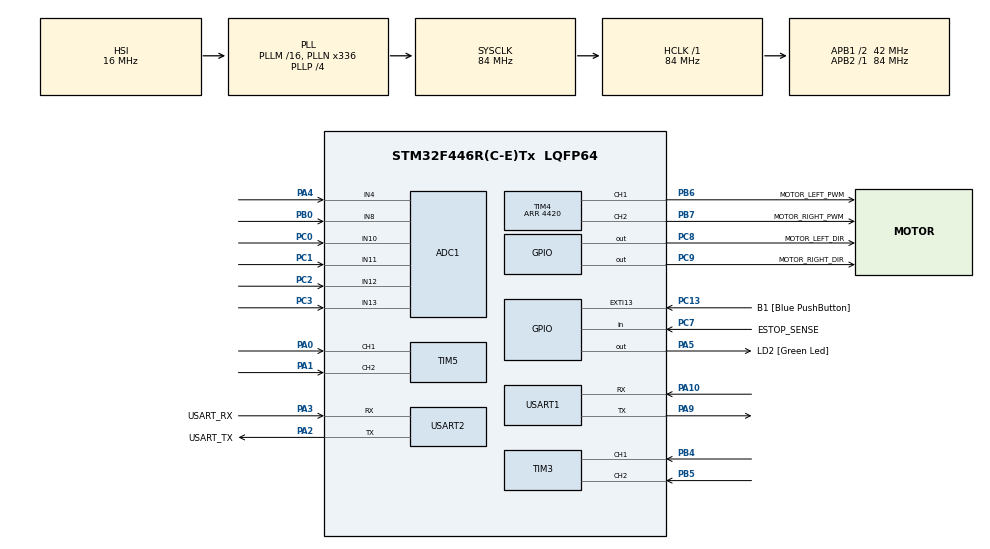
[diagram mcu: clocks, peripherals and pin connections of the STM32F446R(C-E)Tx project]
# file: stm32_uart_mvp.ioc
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ADC1.Channel-0\#ChannelRegularConversion=ADC_CHANNEL_4
ADC1.Channel-1\#ChannelRegularConversion=ADC_CHANNEL_VREFINT
ADC1.Channel-2\#ChannelRegularConversion=ADC_CHANNEL_8
ADC1.Channel-3\#ChannelRegularConversion=ADC_CHANNEL_10
ADC1.Channel-4\#ChannelRegularConversion=ADC_CHANNEL_11
ADC1.Channel-5\#ChannelRegularConversion=ADC_CHANNEL_12
ADC1.Channel-6\#ChannelRegularConversion=ADC_CHANNEL_13
ADC1.ClockPrescaler=ADC_CLOCK_SYNC_PCLK_DIV6
ADC1.DMAContinuousRequests=ENABLE
ADC1.ExternalTrigConv=ADC_EXTERNALTRIGCONV_T2_TRGO
ADC1.NbrOfConversion=7
ADC1.NbrOfConversionFlag=1
ADC1.Rank-0\#ChannelRegularConversion=1
ADC1.Rank-1\#ChannelRegularConversion=2
ADC1.Rank-2\#ChannelRegularConversion=3
ADC1.Rank-3\#ChannelRegularConversion=4
ADC1.Rank-4\#ChannelRegularConversion=5
ADC1.Rank-5\#ChannelRegularConversion=6
ADC1.Rank-6\#ChannelRegularConversion=7
ADC1.SamplingTime-0\#ChannelRegularConversion=ADC_SAMPLETIME_480CYCLES
ADC1.SamplingTime-1\#ChannelRegularConversion=ADC_SAMPLETIME_480CYCLES
ADC1.SamplingTime-2\#ChannelRegularConversion=ADC_SAMPLETIME_480CYCLES
ADC1.SamplingTime-3\#ChannelRegularConversion=ADC_SAMPLETIME_480CYCLES
ADC1.SamplingTime-4\#ChannelRegularConversion=ADC_SAMPLETIME_480CYCLES
ADC1.SamplingTime-5\#ChannelRegularConversion=ADC_SAMPLETIME_480CYCLES
ADC1.SamplingTime-6\#ChannelRegularConversion=ADC_SAMPLETIME_480CYCLES
ADC1.master=1
Dma.ADC1.0.Direction=DMA_PERIPH_TO_MEMORY
Dma.ADC1.0.FIFOMode=DMA_FIFOMODE_DISABLE
Dma.ADC1.0.Instance=DMA2_Stream0
Dma.ADC1.0.MemDataAlignment=DMA_MDATAALIGN_HALFWORD
Dma.ADC1.0.MemInc=DMA_MINC_ENABLE
Dma.ADC1.0.Mode=DMA_CIRCULAR
Dma.ADC1.0.PeriphDataAlignment=DMA_PDATAALIGN_HALFWORD
Dma.ADC1.0.PeriphInc=DMA_PINC_DISABLE
Dma.ADC1.0.Priority=DMA_PRIORITY_LOW
Dma.Request0=ADC1
Mcu.Family=STM32F4
Mcu.Name=STM32F446R(C-E)Tx
Mcu.Package=LQFP64
NVIC.DMA2_Stream0_IRQn=true\:0\:0\:false\:false\:true\:false\:true\:true
NVIC.PriorityGroup=NVIC_PRIORITYGROUP_0
NVIC.USART1_IRQn=true\:0\:0\:false\:false\:true\:true\:true\:true
NVIC.USART2_IRQn=true\:0\:0\:false\:false\:true\:true\:true\:true
PA0-WKUP.Signal=S_TIM5_CH1
PA1.Signal=S_TIM5_CH2
PA10.Mode=Asynchronous
PA10.Signal=USART1_RX
PA13.GPIO_Label=TMS
PA13.Mode=Serial_Wire
PA13.Signal=SYS_JTMS-SWDIO
PA14.GPIO_Label=TCK
PA14.Mode=Serial_Wire
PA14.Signal=SYS_JTCK-SWCLK
PA2.GPIO_Label=USART_TX
PA2.Mode=Asynchronous
PA2.Signal=USART2_TX
PA3.GPIO_Label=USART_RX
PA3.Mode=Asynchronous
PA3.Signal=USART2_RX
PA4.Signal=ADCx_IN4
PA5.GPIO_Label=LD2 [Green Led]
PA5.Signal=GPIO_Output
PA9.Mode=Asynchronous
PA9.Signal=USART1_TX
PB0.Signal=ADCx_IN8
PB3.GPIO_Label=SWO
PB3.Signal=SYS_JTDO-SWO
PB4.Signal=S_TIM3_CH1
PB5.Signal=S_TIM3_CH2
PB6.GPIO_Label=MOTOR_LEFT_PWM
PB6.Signal=S_TIM4_CH1
PB7.GPIO_Label=MOTOR_RIGHT_PWM
PB7.Signal=S_TIM4_CH2
PC0.Signal=ADCx_IN10
PC1.Signal=ADCx_IN11
PC13.GPIO_Label=B1 [Blue PushButton]
PC13.GPIO_ModeDefaultEXTI=GPIO_MODE_IT_FALLING
PC13.Signal=GPXTI13
PC14-OSC32_IN.Mode=LSE-External-Oscillator
PC14-OSC32_IN.Signal=RCC_OSC32_IN
PC15-OSC32_OUT.Mode=LSE-External-Oscillator
PC15-OSC32_OUT.Signal=RCC_OSC32_OUT
PC2.Signal=ADCx_IN12
PC3.Signal=ADCx_IN13
PC7.GPIO_Label=ESTOP_SENSE
PC7.GPIO_PuPd=GPIO_PULLUP
PC7.Signal=GPIO_Input
PC8.GPIO_Label=MOTOR_LEFT_DIR
PC8.Signal=GPIO_Output
PC9.GPIO_Label=MOTOR_RIGHT_DIR
PC9.Signal=GPIO_Output
PH0-OSC_IN.Mode=HSE-External-Oscillator
PH0-OSC_IN.Signal=RCC_OSC_IN
PH1-OSC_OUT.Mode=HSE-External-Oscillator
PH1-OSC_OUT.Signal=RCC_OSC_OUT
ProjectManager.HeapSize=0x200
ProjectManager.StackSize=0x400
ProjectManager.TargetToolchain=STM32CubeIDE
RCC.48MHZClocksFreq_Value=84000000
RCC.AHBFreq_Value=84000000
RCC.APB1CLKDivider=RCC_HCLK_DIV2
RCC.APB1Freq_Value=42000000
RCC.APB1TimFreq_Value=84000000
RCC.APB2Freq_Value=84000000
RCC.APB2TimFreq_Value=84000000
RCC.CortexFreq_Value=84000000
RCC.FLatency-AdvancedSettings=FLASH_LATENCY_2
RCC.HCLKFreq_Value=84000000
RCC.HSE_VALUE=8000000
RCC.HSI_VALUE=16000000
RCC.PLLN=336
RCC.PLLP=RCC_PLLP_DIV4
RCC.SYSCLKFreq_VALUE=84000000
RCC.SYSCLKSource=RCC_SYSCLKSOURCE_PLLCLK
RCC.USBFreq_Value=168000000
RCC.VCOOutputFreq_Value=336000000
SH.ADCx_IN10.0=ADC1_IN10,IN10
SH.ADCx_IN11.0=ADC1_IN11,IN11
SH.ADCx_IN12.0=ADC1_IN12,IN12
SH.ADCx_IN13.0=ADC1_IN13,IN13
SH.ADCx_IN4.0=ADC1_IN4,IN4
SH.ADCx_IN8.0=ADC1_IN8,IN8
SH.S_TIM3_CH1.0=TIM3_CH1,Encoder_Interface
SH.S_TIM3_CH2.0=TIM3_CH2,Encoder_Interface
SH.S_TIM4_CH1.0=TIM4_CH1,PWM Generation1 CH1
SH.S_TIM4_CH2.0=TIM4_CH2,PWM Generation2 CH2
SH.S_TIM5_CH1.0=TIM5_CH1,Encoder_Interface
SH.S_TIM5_CH2.0=TIM5_CH2,Encoder_Interface
TIM2.Period=499
TIM2.Prescaler=83
TIM2.TIM_MasterOutputTrigger=TIM_TRGO_UPDATE
TIM3.EncoderMode=TIM_ENCODERMODE_TI12
TIM4.Channel-PWM\ Generation1\ CH1=TIM_CHANNEL_1
TIM4.Channel-PWM\ Generation2\ CH2=TIM_CHANNEL_2
TIM4.Period=4420
TIM5.EncoderMode=TIM_ENCODERMODE_TI12
USART1.VirtualMode=VM_ASYNC
USART2.VirtualMode=VM_ASYNC
VP_ADC1_Vref_Input.Mode=IN-Vrefint
VP_TIM2_VS_ClockSourceINT.Mode=Internal
VP_TIM4_VS_ClockSourceINT.Mode=Internal
board=NUCLEO-F446RE

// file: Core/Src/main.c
/* USER CODE BEGIN Header */
/**
  ******************************************************************************
  * @file           : main.c
  * @brief          : Main program body
  ******************************************************************************
  * @attention
  *
  * Copyright (c) 2026 STMicroelectronics.
  * All rights reserved.
  *
  * This software is licensed under terms that can be found in the LICENSE file
  * in the root directory of this software component.
  * If no LICENSE file comes with this software, it is provided AS-IS.
  *
  ******************************************************************************
  */
/* USER CODE END Header */
#include "main.h"
#include "adc.h"
#include "dma.h"
#include "tim.h"
#include "usart.h"
#include "gpio.h"

/* USER CODE BEGIN Includes */
#include "uart_mvp_protocol.h"
#include "motor_output.h"
#include "encoder_speed.h"
#include <stdio.h>
/* USER CODE END Includes */

/* USER CODE BEGIN PD */
#define TMR_ADC_BENCH_ENABLED	1U
/* Output-shaft count, calibrated with STM32 quadrature x4 decoding. */
#define ENCODER_COUNTS_PER_OUTPUT_REV       1560U
#define MOTOR_OUTPUT_PIN_TEST_ENABLED       0U
#define MOTOR_FAULT_INJECTION_TEST_ENABLED  0U
#define MOTOR_OUTPUT_PIN_TEST_DUTY_PERMILLE 100U
#define MOTOR_OUTPUT_PIN_TEST_DEBOUNCE_MS   50U
#define ENCODER_SPEED_SAMPLE_PERIOD_MS      100U
#define ENCODER_COUNT_SAMPLE_PERIOD_MS      5U

#if MOTOR_FAULT_INJECTION_TEST_ENABLED && !MOTOR_OUTPUT_PIN_TEST_ENABLED
#error "Fault injection requires the motor output pin test"
#endif
/* USER CODE END PD */

/* USER CODE BEGIN PV */
#if TMR_ADC_BENCH_ENABLED
enum {
  ADC_SLOT_PA4 = 0,
  ADC_SLOT_VREFINT,
  ADC_SLOT_PB0,
  ADC_SLOT_PC0,
  ADC_SLOT_PC1,
  ADC_SLOT_PC2,
  ADC_SLOT_PC3,
  ADC_BENCH_CHANNELS
};

enum {
  ADC_BENCH_SCANS_PER_HALF = 200U,
  ADC_BENCH_HALF_SAMPLES = ADC_BENCH_CHANNELS * ADC_BENCH_SCANS_PER_HALF,
  ADC_BENCH_BUFFER_SAMPLES = 2U * ADC_BENCH_HALF_SAMPLES
};

static volatile uint16_t s_adc_dma_raw[ADC_BENCH_BUFFER_SAMPLES] __ALIGNED(4);
static volatile uint32_t s_adc_dma_completed_blocks = 0U;
#endif

static uint8_t s_motor_output_test_step;

static GPIO_PinState s_motor_output_test_button_raw = GPIO_PIN_SET;
static GPIO_PinState s_motor_output_test_button_stable = GPIO_PIN_SET;

static uint32_t s_motor_output_test_button_change_ms;

static encoder_speed_t s_encoder_tim3;
static encoder_speed_t s_encoder_tim5;
static uint32_t s_encoder_last_publish_ms;
/* USER CODE END PV */

void SystemClock_Config(void);
/* USER CODE BEGIN PFP */
static void motor_output_pin_test_process(void);
/* USER CODE END PFP */

/* USER CODE BEGIN 0 */
static bool encoder_speed_self_test_case(
  encoder_counter_width_t counter_width,
  uint32_t previous_raw,
  uint32_t current_raw,
  int64_t expected_delta
){
  encoder_speed_t test_state;

  if (!encoder_speed_init(
      &test_state,
      counter_width,
      previous_raw,
      0U,
      100U
  )){
    return false;
  }

  if (!encoder_speed_update(
      &test_state,
      current_raw,
      100U
  )){
    return false;
  }

  return (
    test_state.delta_count == expected_delta &&
    test_state.accumulated_count == expected_delta &&
    test_state.counts_per_second == expected_delta * 10LL
  );
}

static bool encoder_speed_wrap_self_test(void){
  return (
    encoder_speed_self_test_case(
      ENCODER_COUNTER_WIDTH_16,
      65530U,
      5U,
      11LL
    ) &&
    encoder_speed_self_test_case(
      ENCODER_COUNTER_WIDTH_16,
      5U,
      65530U,
      -11LL
    ) &&
    encoder_speed_self_test_case(
      ENCODER_COUNTER_WIDTH_32,
      0xFFFFFFFAUL,
      5U,
      11LL
    ) &&
    encoder_speed_self_test_case(
      ENCODER_COUNTER_WIDTH_32,
      5U,
      0xFFFFFFFAUL,
      -11LL
    )
  );
}

static bool encoder_millirpm_self_test_case(
  int64_t counts_per_second,
  int32_t expected_millirpm
){
  int32_t actual_millirpm;

  if (!encoder_speed_cps_to_millirpm(
    counts_per_second,
    ENCODER_COUNTS_PER_OUTPUT_REV,
    &actual_millirpm
  )){
    return false;
  }

  return actual_millirpm == expected_millirpm;
}

static bool encoder_millirpm_self_test(void){
  int32_t ignored_millirpm;

  return (
    encoder_millirpm_self_test_case(
      0LL,
      0
    ) &&
    encoder_millirpm_self_test_case(
      780LL,
      30000
    ) &&
    encoder_millirpm_self_test_case(
      -780LL,
      -30000
    ) &&
    encoder_millirpm_self_test_case(
      1560LL,
      60000
    ) &&
    encoder_millirpm_self_test_case(
      -1560LL,
      -60000
    ) &&
    !encoder_speed_cps_to_millirpm(
      0LL,
      0U,
      &ignored_millirpm
    ) &&
    !encoder_speed_cps_to_millirpm(
      0LL,
      ENCODER_COUNTS_PER_OUTPUT_REV,
      NULL
    ) &&
    !encoder_speed_cps_to_millirpm(
      INT64_MAX,
      ENCODER_COUNTS_PER_OUTPUT_REV,
      &ignored_millirpm
    ) &&
    !encoder_speed_cps_to_millirpm(
      INT64_MIN,
      ENCODER_COUNTS_PER_OUTPUT_REV,
      &ignored_millirpm
    )
  );
}

static int32_t encoder_cps_to_i32(int64_t cps){
    if (cps > (int64_t)INT32_MAX){
        return INT32_MAX;
    }
    if (cps < (int64_t)INT32_MIN){
        return INT32_MIN;
    }
    return (int32_t)cps;
}

static void encoder_speed_log_process(void){
    uint32_t now_ms = HAL_GetTick();
    uint32_t raw3;
    uint32_t raw5;
    int64_t left_raw_count;
    int64_t right_count;
    bool valid;

    /* Name retained for the existing loop call; runtime USB logging removed. */
    if ((uint32_t)(now_ms - s_encoder_last_publish_ms) <
        ENCODER_COUNT_SAMPLE_PERIOD_MS){
        return;
    }
    s_encoder_last_publish_ms = now_ms;
    raw3 = __HAL_TIM_GET_COUNTER(&htim3);
    raw5 = __HAL_TIM_GET_COUNTER(&htim5);
    (void)encoder_speed_update(&s_encoder_tim3, raw3, now_ms);
    (void)encoder_speed_update(&s_encoder_tim5, raw5, now_ms);

    valid = encoder_speed_snapshot(&s_encoder_tim3, raw3, &left_raw_count) &&
        encoder_speed_snapshot(&s_encoder_tim5, raw5, &right_count) &&
        left_raw_count != INT64_MIN;
    uart_mvp_set_encoder_sample(
        encoder_cps_to_i32(-s_encoder_tim3.counts_per_second),
        encoder_cps_to_i32(s_encoder_tim5.counts_per_second),
        valid ? -left_raw_count : 0,
        valid ? right_count : 0,
        now_ms,
        valid
    );
}

static void motor_output_pin_test_process(void){
    GPIO_PinState button_now;
    uint32_t now_ms;
    HAL_StatusTypeDef status = HAL_OK;

    if (MOTOR_OUTPUT_PIN_TEST_ENABLED == 0U){
        return;
    }

    button_now = HAL_GPIO_ReadPin(B1_GPIO_Port, B1_Pin);
    now_ms = HAL_GetTick();

    if (button_now != s_motor_output_test_button_raw){
        s_motor_output_test_button_raw = button_now;
        s_motor_output_test_button_change_ms = now_ms;
        return;
    }

    if (button_now == s_motor_output_test_button_stable){
        return;
    }

    if (
        (now_ms - s_motor_output_test_button_change_ms) <
        MOTOR_OUTPUT_PIN_TEST_DEBOUNCE_MS
    ){
        return;
    }

    s_motor_output_test_button_stable = button_now;

    if (button_now != GPIO_PIN_RESET){
        return;
    }

    s_motor_output_test_step++;

    switch (s_motor_output_test_step){
        case 1U:
            status = motor_output_set_raw(
                MOTOR_OUTPUT_PIN_TEST_DUTY_PERMILLE,
                GPIO_PIN_RESET,
                (MOTOR_FAULT_INJECTION_TEST_ENABLED != 0U)
                ? MOTOR_OUTPUT_PIN_TEST_DUTY_PERMILLE
                : 0U,
                GPIO_PIN_RESET
            );
            HAL_GPIO_WritePin(
                LD2_GPIO_Port,
                LD2_Pin,
                (MOTOR_FAULT_INJECTION_TEST_ENABLED != 0U)
                ? GPIO_PIN_RESET
                : GPIO_PIN_SET
            );
            break;

        case 2U:
            if (MOTOR_FAULT_INJECTION_TEST_ENABLED != 0U){
              Error_Handler();
            }
            status = motor_output_set_raw(
                MOTOR_OUTPUT_PIN_TEST_DUTY_PERMILLE,
                GPIO_PIN_SET,
                0U,
                GPIO_PIN_RESET
            );
            break;

        case 3U:
            motor_output_stop_all();
            HAL_GPIO_WritePin(
                LD2_GPIO_Port,
                LD2_Pin,
                GPIO_PIN_RESET
            );
            break;

        case 4U:
            status = motor_output_set_raw(
                0U,
                GPIO_PIN_RESET,
                MOTOR_OUTPUT_PIN_TEST_DUTY_PERMILLE,
                GPIO_PIN_RESET
            );
            HAL_GPIO_WritePin(
                LD2_GPIO_Port,
                LD2_Pin,
                GPIO_PIN_SET
            );
            break;

        case 5U:
            status = motor_output_set_raw(
                0U,
                GPIO_PIN_RESET,
                MOTOR_OUTPUT_PIN_TEST_DUTY_PERMILLE,
                GPIO_PIN_SET
            );
            break;

        case 6U:
        default:
            motor_output_stop_all();
            HAL_GPIO_WritePin(
                LD2_GPIO_Port,
                LD2_Pin,
                GPIO_PIN_RESET
            );
            s_motor_output_test_step = 0U;
            break;
    }

    if (status != HAL_OK){
        Error_Handler();
    }
}
/* USER CODE END 0 */

int main(void)
{

  /* USER CODE BEGIN 1 */
  uint32_t encoder_init_ms;
  /* USER CODE END 1 */

  /* MCU Configuration--------------------------------------------------------*/

  /* Reset of all peripherals, Initializes the Flash interface and the Systick. */
  HAL_Init();

  /* Configure the system clock */
  SystemClock_Config();

  /* Initialize all configured peripherals */
  MX_GPIO_Init();
  MX_DMA_Init();
  MX_USART2_UART_Init();
  MX_USART1_UART_Init();
  MX_TIM4_Init();
  MX_TIM3_Init();
  MX_TIM5_Init();
  MX_ADC1_Init();
  MX_TIM2_Init();
  /* USER CODE BEGIN 2 */
#if TMR_ADC_BENCH_ENABLED
  uint32_t last_block = 0U;
  uint32_t last_ms = HAL_GetTick();
  const char *fault = NULL;
  char line[192];

  if (HAL_ADC_Start_DMA(&hadc1, (uint32_t *)s_adc_dma_raw,
                        ADC_BENCH_BUFFER_SAMPLES) != HAL_OK) {
    fault = "adc_dma_start";
  } else if (HAL_TIM_Base_Start(&htim2) != HAL_OK) {
    fault = "tim2_start";
  }

  while (fault == NULL) {
    uint32_t block = s_adc_dma_completed_blocks;
    uint32_t now_ms = HAL_GetTick();

    if (HAL_ADC_GetError(&hadc1) != HAL_ADC_ERROR_NONE ||
        __HAL_ADC_GET_FLAG(&hadc1, ADC_FLAG_OVR) != RESET) {
      fault = "adc_or_dma_error";
      break;
    }

    if (block == last_block) {
      if (now_ms - last_ms >= 300U) {
        fault = "block_timeout";
        break;
      }
      __WFI();
      continue;
    }

    if (block - last_block != 1U) {
      fault = "missed_block";
      break;
    }

    uint32_t first = (block % 2U == 1U) ? 0U : ADC_BENCH_HALF_SAMPLES;
    uint32_t sums[ADC_BENCH_CHANNELS] = {0U};
    unsigned long mean_x100[ADC_BENCH_CHANNELS];

    for (uint32_t i = first; i < first + ADC_BENCH_HALF_SAMPLES;
         i += ADC_BENCH_CHANNELS) {
      for (uint32_t slot = 0; slot < ADC_BENCH_CHANNELS; ++slot) {
        sums[slot] += s_adc_dma_raw[i + slot];
      }
    }

    if (s_adc_dma_completed_blocks != block) {
      fault = "block_changed";
      break;
    }

    for (uint32_t slot = 0; slot < ADC_BENCH_CHANNELS; ++slot) {
      mean_x100[slot] =
          (sums[slot] * 100U + ADC_BENCH_SCANS_PER_HALF / 2U)
          / ADC_BENCH_SCANS_PER_HALF;
    }

    int len = snprintf(line, sizeof(line),
                       "ADC_BLOCK,seq=%lu,ms=%lu,pa4_x100=%lu,vrefint_x100=%lu,"
                       "pb0_x100=%lu,pc0_x100=%lu,pc1_x100=%lu,"
                       "pc2_x100=%lu,pc3_x100=%lu,valid=1\r\n",
                       (unsigned long)block, (unsigned long)now_ms,
                       mean_x100[ADC_SLOT_PA4], mean_x100[ADC_SLOT_VREFINT],
                       mean_x100[ADC_SLOT_PB0], mean_x100[ADC_SLOT_PC0],
                       mean_x100[ADC_SLOT_PC1], mean_x100[ADC_SLOT_PC2],
                       mean_x100[ADC_SLOT_PC3]);

    if (len <= 0 || (size_t)len >= sizeof(line) ||
        HAL_UART_Transmit(&huart2, (uint8_t *)line, (uint16_t)len, 20U) != HAL_OK) {
      fault = "uart";
      break;
    }

    last_block = block;
    last_ms = now_ms;
  }

  (void)HAL_TIM_Base_Stop(&htim2);
  (void)HAL_ADC_Stop_DMA(&hadc1);

  int len = snprintf(line, sizeof(line), "ADC_BLOCK,valid=0,reason=%s\r\n", fault);
  if (len > 0 && (size_t)len < sizeof(line)) {
    (void)HAL_UART_Transmit(&huart2, (uint8_t *)line, (uint16_t)len, 20U);
  }
  Error_Handler();
#endif

  if (motor_output_init(&htim4) != HAL_OK){
    Error_Handler();
  }

  __HAL_TIM_SET_COUNTER(&htim3, 32768U);
  __HAL_TIM_SET_COUNTER(&htim5, 0x80000000U);

  if (HAL_TIM_Encoder_Start(&htim3, TIM_CHANNEL_ALL) != HAL_OK){
    Error_Handler();
  }

  if (HAL_TIM_Encoder_Start(&htim5, TIM_CHANNEL_ALL) != HAL_OK){
    Error_Handler();
  }

  encoder_init_ms = HAL_GetTick();

  if (!encoder_speed_init(
      &s_encoder_tim3,
      ENCODER_COUNTER_WIDTH_16,
      __HAL_TIM_GET_COUNTER(&htim3),
      encoder_init_ms,
      ENCODER_SPEED_SAMPLE_PERIOD_MS
  )){
    Error_Handler();
  }

  if (!encoder_speed_init(
      &s_encoder_tim5,
      ENCODER_COUNTER_WIDTH_32,
      __HAL_TIM_GET_COUNTER(&htim5),
      encoder_init_ms,
      ENCODER_SPEED_SAMPLE_PERIOD_MS
  )){
    Error_Handler();
  }

  if (
    encoder_speed_wrap_self_test() &&
    encoder_millirpm_self_test()
  ){
    static uint8_t pass_message[] =
      "ENC_SELF_TEST,wrap=PASS,millirpm=PASS\r\n";

    (void)HAL_UART_Transmit(
      &huart2,
      pass_message,
      (uint16_t)(sizeof(pass_message) - 1U),
      50U
    );
  } else {
    static uint8_t fail_message[] =
      "ENC_SELF_TEST,wrap_or_millirpm=FAIL\r\n";

    (void)HAL_UART_Transmit(
      &huart2,
      fail_message,
      (uint16_t)(sizeof(fail_message) - 1U),
      50U
    );

    Error_Handler();
  }
  uart_mvp_init(&huart1);
  uart_mvp_start_rx();
  /* USER CODE END 2 */

  /* Infinite loop */
  while (1)
  {

    /* USER CODE BEGIN 3 */
    encoder_speed_log_process();
    motor_output_pin_test_process();
    uart_mvp_process();
  }
  /* USER CODE END 3 */
}

void SystemClock_Config(void)
{
  RCC_OscInitTypeDef RCC_OscInitStruct = {0};
  RCC_ClkInitTypeDef RCC_ClkInitStruct = {0};

  /** Configure the main internal regulator output voltage
  */
  __HAL_RCC_PWR_CLK_ENABLE();
  __HAL_PWR_VOLTAGESCALING_CONFIG(PWR_REGULATOR_VOLTAGE_SCALE3);

  /** Initializes the RCC Oscillators according to the specified parameters
  * in the RCC_OscInitTypeDef structure.
  */
  RCC_OscInitStruct.OscillatorType = RCC_OSCILLATORTYPE_HSI;
  RCC_OscInitStruct.HSIState = RCC_HSI_ON;
  RCC_OscInitStruct.HSICalibrationValue = RCC_HSICALIBRATION_DEFAULT;
  RCC_OscInitStruct.PLL.PLLState = RCC_PLL_ON;
  RCC_OscInitStruct.PLL.PLLSource = RCC_PLLSOURCE_HSI;
  RCC_OscInitStruct.PLL.PLLM = 16;
  RCC_OscInitStruct.PLL.PLLN = 336;
  RCC_OscInitStruct.PLL.PLLP = RCC_PLLP_DIV4;
  RCC_OscInitStruct.PLL.PLLQ = 2;
  RCC_OscInitStruct.PLL.PLLR = 2;
  if (HAL_RCC_OscConfig(&RCC_OscInitStruct) != HAL_OK)
  {
    Error_Handler();
  }

  /** Initializes the CPU, AHB and APB buses clocks
  */
  RCC_ClkInitStruct.ClockType = RCC_CLOCKTYPE_HCLK|RCC_CLOCKTYPE_SYSCLK
                              |RCC_CLOCKTYPE_PCLK1|RCC_CLOCKTYPE_PCLK2;
  RCC_ClkInitStruct.SYSCLKSource = RCC_SYSCLKSOURCE_PLLCLK;
  RCC_ClkInitStruct.AHBCLKDivider = RCC_SYSCLK_DIV1;
  RCC_ClkInitStruct.APB1CLKDivider = RCC_HCLK_DIV2;
  RCC_ClkInitStruct.APB2CLKDivider = RCC_HCLK_DIV1;

  if (HAL_RCC_ClockConfig(&RCC_ClkInitStruct, FLASH_LATENCY_2) != HAL_OK)
  {
    Error_Handler();
  }
}

/* USER CODE BEGIN 4 */
#if TMR_ADC_BENCH_ENABLED
void HAL_ADC_ConvHalfCpltCallback(ADC_HandleTypeDef *hadc)
{
  if (hadc == &hadc1 && (hadc->DMA_Handle->Instance->CR & DMA_SxCR_EN) != 0U) {
    ++s_adc_dma_completed_blocks;
  }
}

void HAL_ADC_ConvCpltCallback(ADC_HandleTypeDef *hadc)
{
  if (hadc == &hadc1 && (hadc->DMA_Handle->Instance->CR & DMA_SxCR_EN) != 0U) {
    ++s_adc_dma_completed_blocks;
  }
}
#endif

void HAL_UART_RxCpltCallback(UART_HandleTypeDef *huart){
  uart_mvp_on_rx_complete(huart);
}

void HAL_UART_ErrorCallback(UART_HandleTypeDef *huart){
  uart_mvp_on_uart_error(huart);
}

void HAL_UART_TxCpltCallback(UART_HandleTypeDef *huart){
  uart_mvp_on_tx_complete(huart);
}
/* USER CODE END 4 */

void Error_Handler(void)
{
  /* USER CODE BEGIN Error_Handler_Debug */
  /* User can add his own implementation to report the HAL error return state */
#if MOTOR_FAULT_INJECTION_TEST_ENABLED
  HAL_GPIO_WritePin(
    LD2_GPIO_Port,
    LD2_Pin,
    GPIO_PIN_SET
  );
#endif

  motor_output_stop_all();
  __disable_irq();
  while (1)
  {
  }
  /* USER CODE END Error_Handler_Debug */
}
